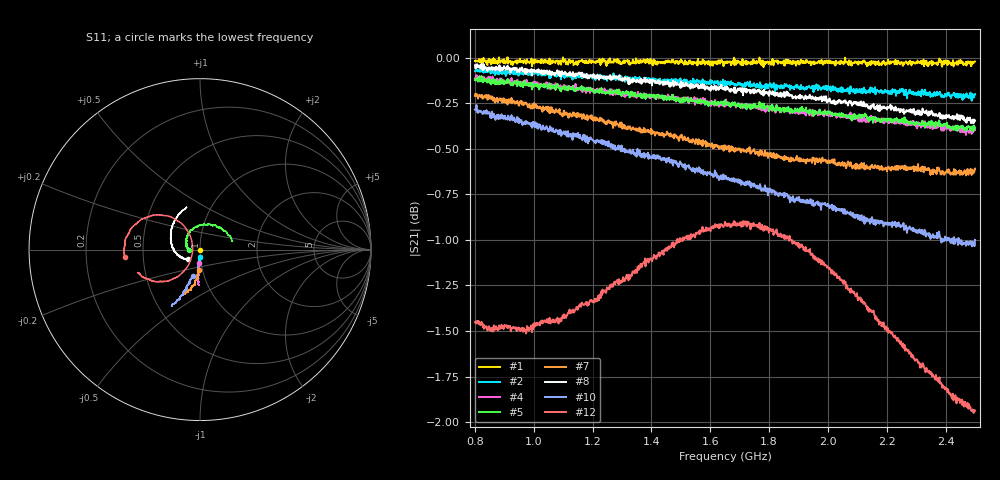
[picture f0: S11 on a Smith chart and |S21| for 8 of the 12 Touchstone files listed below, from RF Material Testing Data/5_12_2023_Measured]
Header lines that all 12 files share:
!Keysight Technologies N9950B: A.12.38
!Timezone: (UTC-06:00) Central Time (US & Canada)
!Model: N9950B
!Serial: MY61131330
!GPS Latitude:
!GPS Longitude:
!GPS TimeStamp: 0001-01-01 00:00:00Z
!GPS Seconds Since Last Read: 0
!Correction: S11(ON U)S21(ON U)S12(ON U)S22(ON U)
!S2P File: Measurements:S11,S21,S12,S22:
# Hz S DB R 50
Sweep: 800 MHz to 2.5 GHz
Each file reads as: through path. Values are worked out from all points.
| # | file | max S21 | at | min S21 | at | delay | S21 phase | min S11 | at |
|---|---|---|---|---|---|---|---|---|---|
| 1 | 12.May.2023.11.58_5CM_AIR.s2p | 0.00 dB | 910.5 MHz | -0.1 dB | 1.781 GHz | 167 ps | -99 deg at 1.65 GHz | -71.7 dB | 1.84 GHz |
| 2 | 12.May.2023_3.19mm_durable_flushp1.s2p | -0.06 dB | 845.9 MHz | -0.2 dB | 2.49 GHz | 174 ps | -104 deg at 1.65 GHz | -27.0 dB | 806.8 MHz |
| 3 | 12.May.2023_3.28MM_DURABLE.s2p | -0.06 dB | 864.6 MHz | -0.2 dB | 2.427 GHz | 174 ps | -104 deg at 1.65 GHz | -28.1 dB | 800 MHz |
| 4 | 12.May.2023_4.92mm_durable_flushp1.s2p | -0.10 dB | 805.1 MHz | -0.4 dB | 2.469 GHz | 178 ps | -107 deg at 1.65 GHz | -22.3 dB | 806.8 MHz |
| 5 | 12.May.2023_5.17MM_DURABLE.s2p | -0.10 dB | 822.1 MHz | -0.4 dB | 2.495 GHz | 179 ps | -107 deg at 1.65 GHz | -23.8 dB | 808.5 MHz |
| 6 | 12.May.2023_7.4mm_DURABLE.s2p | -0.17 dB | 822.1 MHz | -0.7 dB | 2.495 GHz | 184 ps | -111 deg at 1.65 GHz | -19.7 dB | 801.7 MHz |
| 7 | 12.May.2023_7.36mm_durable_flushp1.s2p | -0.20 dB | 801.7 MHz | -0.6 dB | 2.469 GHz | 186 ps | -113 deg at 1.65 GHz | -18.5 dB | 806.8 MHz |
| 8 | 12.May.2023_8.64MM_PLA.s2p | -0.03 dB | 822.1 MHz | -0.4 dB | 2.495 GHz | 184 ps | -110 deg at 1.65 GHz | -21.2 dB | 801.7 MHz |
| 9 | 12.May.2023_10.2_DURABLE.s2p | -0.23 dB | 806.8 MHz | -0.9 dB | 2.495 GHz | 189 ps | -115 deg at 1.65 GHz | -17.0 dB | 801.7 MHz |
| 10 | 12.May.2023_10.2mm_durable_flushp1.s2p | -0.26 dB | 805.1 MHz | -1.0 dB | 2.49 GHz | 189 ps | -115 deg at 1.65 GHz | -16.0 dB | 806.8 MHz |
| 11 | 12.May.2023_50mm_air.s2p | 0.00 dB | 924.1 MHz | -0.1 dB | 2.463 GHz | 167 ps | -99 deg at 1.65 GHz | -80.3 dB | 2.459 GHz |
| 12 | 12.May.2023_50MM_DURABLE.s2p | -0.90 dB | 1.681 GHz | -1.9 dB | 2.495 GHz | 279 ps | -162 deg at 1.65 GHz | -27.4 dB | 1.8 GHz |
